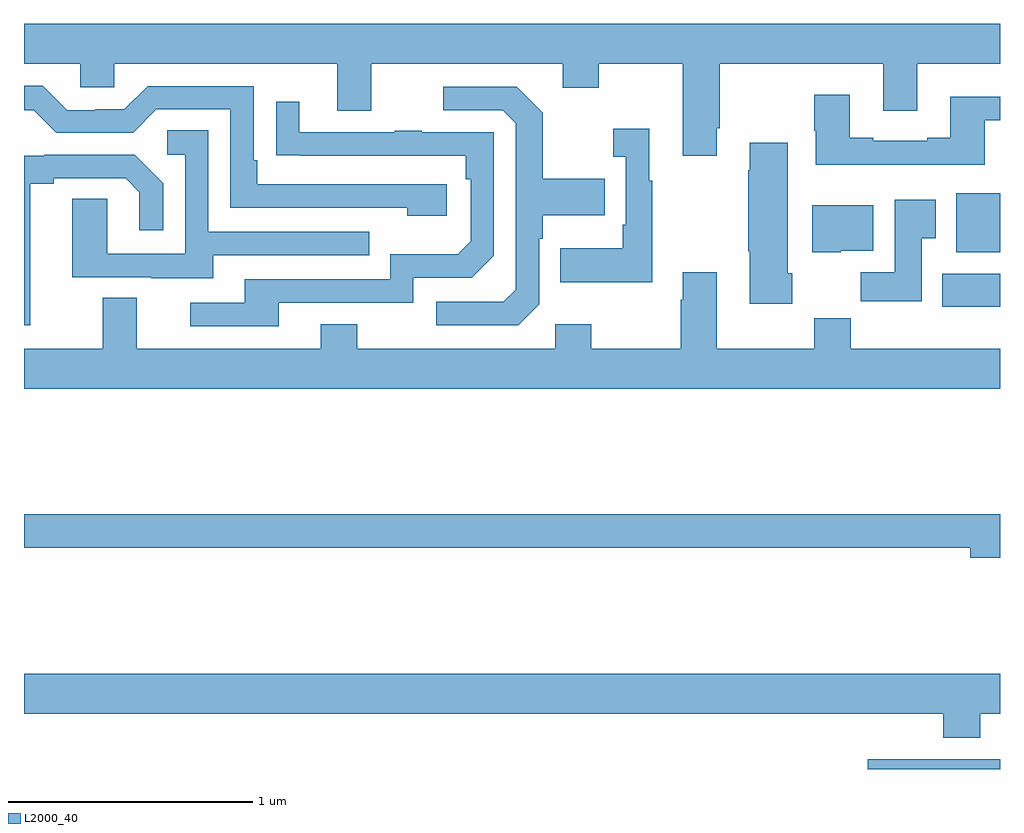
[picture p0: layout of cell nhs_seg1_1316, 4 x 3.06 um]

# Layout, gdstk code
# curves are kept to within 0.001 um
import gdstk
lib = gdstk.Library(unit=1e-6, precision=1e-09)
def R(c, l, rs):  # rectangles x0, y0, x1, y1
    for r in rs: c.add(gdstk.rectangle(r[:2], r[2:], *l))
def P(c, l, *ps):  # polygons
    for p in ps: c.add(gdstk.Polygon(p, *l))
L2000_40 = (2000, 40)

nhs_seg1_1316 = lib.new_cell('nhs_seg1_1316')
R(nhs_seg1_1316, L2000_40, [(186.459,522.199,187,522.24), (186.764,524.096,187,524.23), (186.821,524.318,187,524.56)])
P(nhs_seg1_1316, L2000_40, [(185.839,524.827),(185.852,524.827),(185.852,525.092),(186.521,525.092),(186.521,524.898),(186.661,524.898),(186.661,525.092),(187,525.092),(187,525.256),(183,525.256),(183,525.092),(183.231,525.092),(183.231,524.994),(183.369,524.994),(183.369,525.092),(184.283,525.092),(184.283,524.898),(184.423,524.898),(184.423,525.092),(185.207,525.092),(185.207,524.993),(185.355,524.993),(185.355,525.092),(185.699,525.092),(185.699,524.715),(185.839,524.715)],
  [(184.732,524.598),(183.955,524.598),(183.955,524.695),(183.942,524.695),(183.942,525),(183.507,525),(183.411,524.904),(183.293,524.904),(183.293,524.901),(183.177,524.901),(183.077,525.001),(183,525.001),(183,524.901),(183.039,524.901),(183.132,524.808),(183.447,524.808),(183.543,524.904),(183.846,524.904),(183.846,524.502),(184.571,524.502),(184.571,524.468),(184.732,524.468)],
  [(185.112,524.106),(185.112,524.375),(185.125,524.375),(185.125,524.471),(185.381,524.471),(185.381,524.619),(185.125,524.619),(185.125,524.891),(185.019,524.997),(184.719,524.997),(184.719,524.901),(184.962,524.901),(185.016,524.847),(185.016,524.166),(184.965,524.115),(184.689,524.115),(184.689,524.019),(185.025,524.019)],
  [(186.937,524.859),(187,524.859),(187,524.956),(186.797,524.956),(186.797,524.788),(186.701,524.788),(186.701,524.775),(186.481,524.775),(186.481,524.788),(186.385,524.788),(186.385,524.965),(186.238,524.965),(186.238,524.817),(186.245,524.817),(186.245,524.678),(186.937,524.678)],
  [(184.045,524.112),(184.596,524.112),(184.596,524.214),(184.836,524.214),(184.926,524.304),(184.926,524.811),(184.631,524.811),(184.631,524.816),(184.519,524.816),(184.519,524.811),(184.129,524.811),(184.129,524.935),(184.033,524.935),(184.033,524.716),(184.81,524.715),(184.81,524.618),(184.83,524.618),(184.83,524.364),(184.777,524.311),(184.5,524.311),(184.5,524.208),(183.905,524.208),(183.905,524.112),(183.681,524.112),(183.681,524.016),(184.045,524.016)],
  [(185.575,524.611),(185.563,524.611),(185.563,524.824),(185.415,524.824),(185.415,524.711),(185.466,524.711),(185.466,524.431),(185.454,524.431),(185.454,524.335),(185.197,524.335),(185.197,524.195),(185.575,524.195)],
  [(183.775,524.307),(184.415,524.307),(184.415,524.403),(183.756,524.403),(183.756,524.819),(183.588,524.819),(183.588,524.718),(183.66,524.718),(183.66,524.313),(183.342,524.313),(183.342,524.537),(183.197,524.537),(183.197,524.217),(183.521,524.217),(183.521,524.213),(183.775,524.213)],
  [(186.148,524.232),(186.13,524.232),(186.13,524.767),(185.975,524.767),(185.975,524.654),(185.968,524.654),(185.968,524.323),(185.975,524.323),(185.975,524.108),(186.148,524.108)],
  [(183.025,524.6),(183.121,524.6),(183.121,524.622),(183.416,524.622),(183.473,524.565),(183.473,524.409),(183.57,524.409),(183.57,524.602),(183.454,524.718),(183.082,524.718),(183.082,524.715),(183,524.715),(183,524.019),(183.025,524.019)],
  [(186.679,524.377),(186.736,524.377),(186.736,524.533),(186.569,524.533),(186.569,524.236),(186.43,524.236),(186.43,524.118),(186.679,524.118)],
  [(186.348,524.324),(186.481,524.324),(186.481,524.512),(186.23,524.512),(186.23,524.318),(186.348,524.318)],
  [(187,523.924),(186.389,523.924),(186.389,524.048),(186.238,524.048),(186.238,523.924),(185.839,523.924),(185.839,524.236),(185.699,524.236),(185.699,524.123),(185.692,524.123),(185.692,523.924),(185.325,523.924),(185.325,524.023),(185.178,524.023),(185.178,523.924),(184.365,523.924),(184.365,524.023),(184.217,524.023),(184.217,523.924),(183.463,523.924),(183.463,524.132),(183.323,524.132),(183.323,523.924),(183,523.924),(183,523.76),(187,523.76)],
  [(187,523.244),(183,523.244),(183,523.108),(186.878,523.108),(186.878,523.066),(187,523.066)],
  [(186.919,522.428),(187,522.428),(187,522.592),(183,522.592),(183,522.428),(186.767,522.428),(186.767,522.329),(186.919,522.329)])

lib.write_gds('nhs_seg1_1316.gds')
